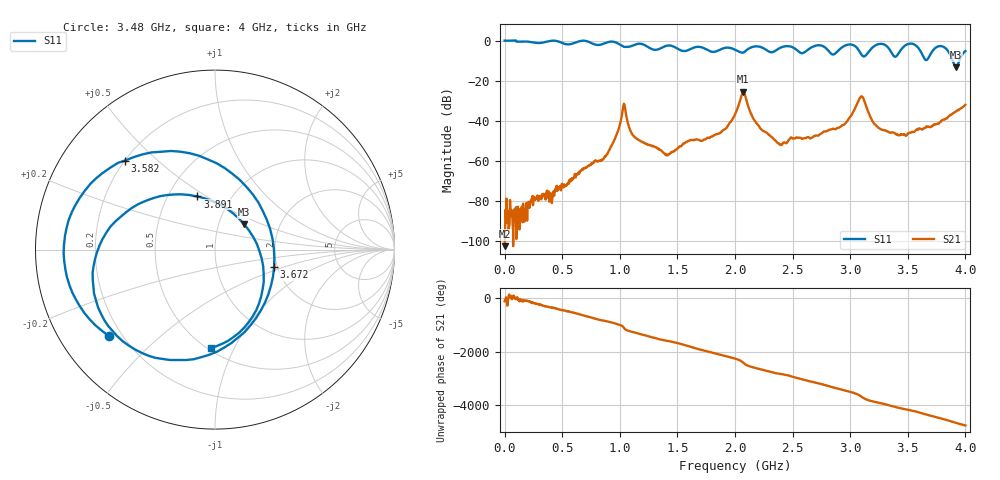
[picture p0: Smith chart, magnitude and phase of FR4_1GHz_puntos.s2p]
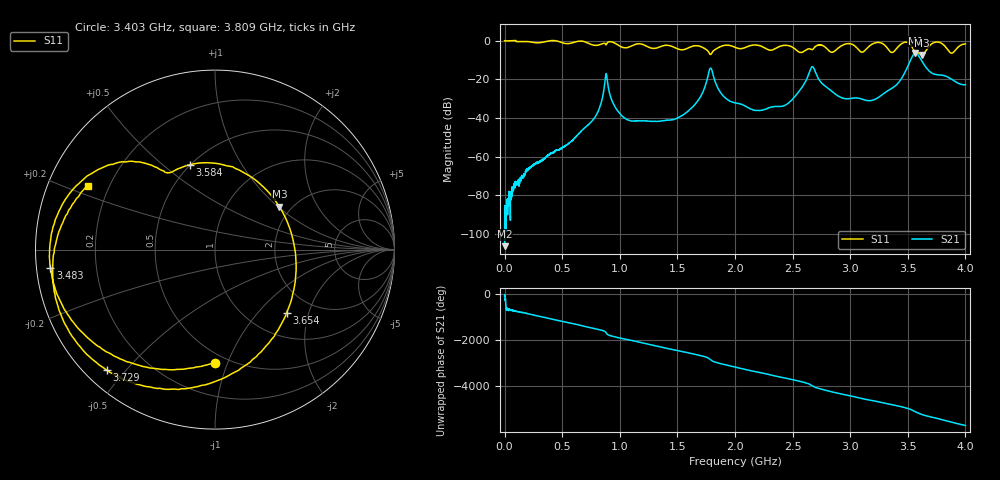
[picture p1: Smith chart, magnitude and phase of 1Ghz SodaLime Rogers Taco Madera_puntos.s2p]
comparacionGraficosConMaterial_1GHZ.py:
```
import skrf as rf
import matplotlib.pyplot as plt

# --- CARGAR ARCHIVOS S2P ---
try:
    ntwk_rogers_medido = rf.Network('Rogers_1GHz_puntos.s2p')
except FileNotFoundError:
    print("ERROR: No se encontró 'Rogers_1GHz_puntos.s2p'.")
    exit()

try:
    ntwk_fr4_medido = rf.Network('FR4_1GHz_puntos.s2p')
except FileNotFoundError:
    print("ERROR: No se encontró 'FR4_1GHz_puntos.s2p'.")
    exit()

try:
    ntwk_rogers_simulado = rf.Network('1Ghz SodaLime Rogers Taco Madera_puntos.s2p')
except FileNotFoundError:
    print("ERROR: No se encontró 'S21-Rogers-1G.s2p'.")
    exit()

try:
    ntwk_fr4_simulado = rf.Network('1Ghz SodaLime FR4 Taco Madera_puntos.s2p')
except FileNotFoundError:
    print("ERROR: No se encontró 'S21-FR4-1G.s2p'.")
    exit()

print("Archivos cargados exitosamente.")

# --- Graficar ---
fig, ax = plt.subplots(1, 2, figsize=(14, 6))

# --- ROGERS ---
ntwk_rogers_medido.plot_s_db(m=1, n=0, ax=ax[0], label='Medido', color='tab:blue')
ntwk_rogers_simulado.plot_s_db(m=1, n=0, ax=ax[0], label='Con SodaLime encima', color='tab:orange', linestyle='--')
ax[0].set_xlim(0, 4e9)
ax[0].set_title('ROGERS 4350B $|S_{21}|$')
ax[0].set_xlabel('Frecuencia (Hz)')
ax[0].set_ylabel('Magnitud (dB)')
ax[0].grid(True, which="both", ls="--", alpha=0.6)
ax[0].legend()

# --- FR4 ---
ntwk_fr4_medido.plot_s_db(m=1, n=0, ax=ax[1], label='Medido', color='tab:blue')
ntwk_fr4_simulado.plot_s_db(m=1, n=0, ax=ax[1], label='Con SodaLime encima', color='tab:orange', linestyle='--')
ax[1].set_xlim(0, 4e9)
ax[1].set_title('FR4 $|S_{21}|$')
ax[1].set_xlabel('Frecuencia (Hz)')
ax[1].set_ylabel('Magnitud (dB)')
ax[1].grid(True, which="both", ls="--", alpha=0.6)
ax[1].legend()

# --- Título general ---
plt.suptitle('Comparación de Parámetros $|S_{21}|$ a 1GHZ (Transmisión)')
plt.tight_layout(rect=[0, 0, 1, 0.96])
plt.show()
```
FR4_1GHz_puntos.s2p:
! NanoVNA-App
! Date: 2025-10-01 20:01:10
! Start: 10kHz Stop: 4GHz Points: 1024
! S-Parameter data: F S11 S21 S12 S22
# Hz S RI R 50
!  Frequency  S11_Real  S11_Imag  S21_Real  S21_Imag  S12_Real  S12_Imag  S22_Real  S22_Imag
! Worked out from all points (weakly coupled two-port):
!   1024 points, 10 kHz to 4 GHz, reference 50 ohm
!   highest |S21| = -25.56 dB at 2.072 GHz (marker M1); lowest = -102.8 dB at 10 kHz (marker M2)
!   lowest |S11| = -13.3 dB at 3.918 GHz (marker M3), VSWR 1.55, Z = 66.2 + j19.5 ohm
!   |S11| at or under -10 dB: 3.89 GHz to 3.948 GHz (57.77 MHz wide, 1.47 % of centre)
!   S12 and S22 are empty: the file has one direction only
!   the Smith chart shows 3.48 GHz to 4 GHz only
!   S11 on the Smith chart (normalised r, x): 3.48 GHz: 0.15, -0.35; 3.582 GHz: 0.20, +0.40; 3.672 GHz: 1.92, -0.42; 3.891 GHz: 0.70, +0.46; 4 GHz: 0.52, -0.81
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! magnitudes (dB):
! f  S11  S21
! 10 kHz  0.0  -102.8
! 1.036 GHz  -3.1  -31.6
! 1.415 GHz  -2.5  -57.0
! 2.002 GHz  -4.6  -36.7
! 2.072 GHz  -6.0  -25.6
! 3.48 GHz  -2.3  -47.4
! 3.582 GHz  -3.0  -44.6
! 3.672 GHz  -9.3  -43.0
! 3.891 GHz  -10.1  -36.5
! 3.918 GHz  -13.3  -35.4
! 4 GHz  -5.2  -32.1
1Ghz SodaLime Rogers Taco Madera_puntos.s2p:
! NanoVNA-App
! Date: 2025-10-30 21:20:22
! Start: 10kHz Stop: 4GHz Points: 3201
! S-Parameter data: F S11 S21 S12 S22
# Hz S RI R 50
!  Frequency  S11_Real  S11_Imag  S21_Real  S21_Imag  S12_Real  S12_Imag  S22_Real  S22_Imag
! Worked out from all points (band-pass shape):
!   3201 points, 10 kHz to 4 GHz, reference 50 ohm
!   highest |S21| = -6.33 dB at 3.566 GHz (marker M1); lowest = -106.5 dB at 10 kHz (marker M2)
!   |S21| within 3 dB of the highest: 3.529 GHz to 3.61 GHz (80.57 MHz wide, 2.26 % of centre)
!   lowest |S11| = -7.3 dB at 3.62 GHz (marker M3), VSWR 2.51, Z = 86.9 + j50.9 ohm
!   |S11| at or under -10 dB: nowhere
!   S12 and S22 are empty: the file has one direction only
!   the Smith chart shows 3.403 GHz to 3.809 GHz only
!   S11 on the Smith chart (normalised r, x): 3.403 GHz: 0.43, -0.90; 3.483 GHz: 0.04, -0.05; 3.584 GHz: 0.50, +0.62; 3.654 GHz: 1.47, -1.46; 3.729 GHz: 0.06, -0.45; 3.809 GHz: 0.12, +0.23
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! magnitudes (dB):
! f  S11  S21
! 10 kHz  0.0  -106.5
! 2 GHz  -3.4  -32.2
! 3.403 GHz  -4.0  -22.8
! 3.483 GHz  -0.7  -15.5
! 3.566 GHz  -6.0  -6.3
! 3.584 GHz  -6.1  -6.9
! 3.62 GHz  -7.3  -10.3
! 3.654 GHz  -5.5  -13.5
! 3.729 GHz  -0.9  -17.3
! 3.809 GHz  -2.0  -17.9
! 4 GHz  -1.7  -22.8
